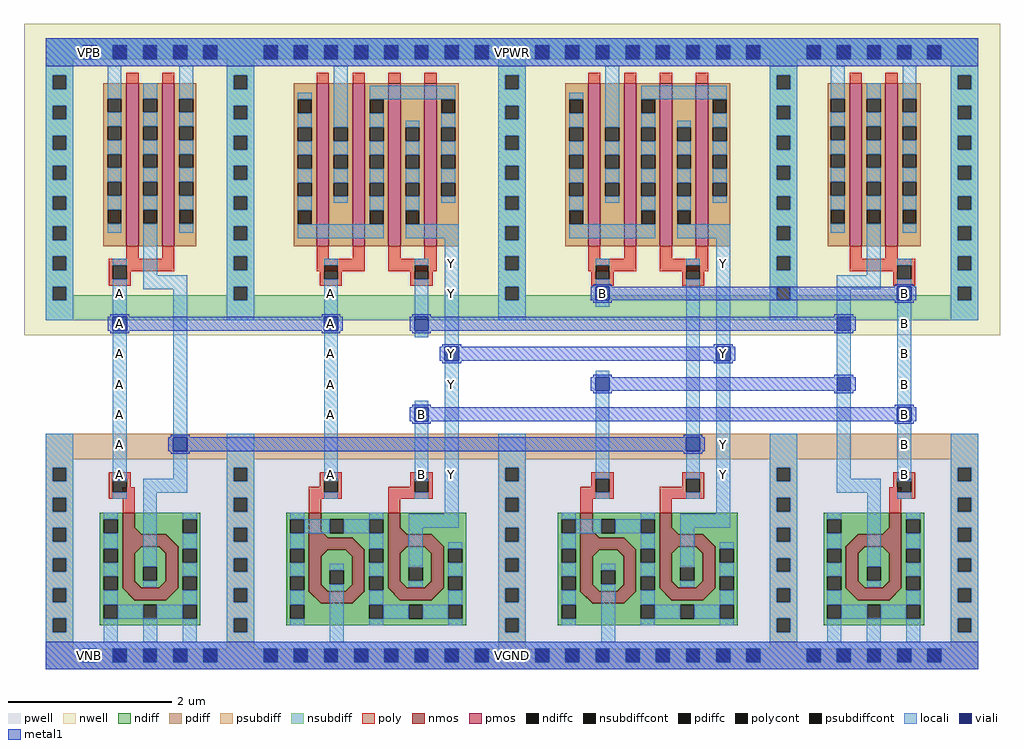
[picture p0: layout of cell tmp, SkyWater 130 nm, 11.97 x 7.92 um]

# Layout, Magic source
magic
tech sky130A
magscale 1 2
<< nwell >>
rect 57 1463 91 1497
<< pwell >>
rect 57 -17 91 17
<< locali >>
rect 945 945 979 979
rect 1611 945 1645 979
rect 131 871 165 905
rect 649 871 683 905
rect 945 871 979 905
rect 1315 871 1349 905
rect 2055 871 2089 905
rect 131 797 165 831
rect 649 797 683 831
rect 2055 797 2089 831
rect 131 723 165 757
rect 649 723 683 757
rect 945 723 979 757
rect 1611 723 1645 757
rect 2055 723 2089 757
rect 131 649 165 683
rect 649 649 683 683
rect 945 649 979 683
rect 2055 649 2089 683
rect 131 575 165 609
rect 649 575 683 609
rect 871 575 905 609
rect 2055 575 2089 609
rect 131 501 165 535
rect 1611 501 1645 535
rect 2055 501 2089 535
rect 131 427 165 461
rect 649 427 683 461
rect 871 427 905 461
rect 945 427 979 461
rect 1611 427 1645 461
rect 2055 427 2089 461
<< metal1 >>
rect -34 1446 2254 1514
rect -34 -34 2254 34
use xor2X1_pcell  xor2X1_pcell_0 pcells
transform 1 0 0 0 1 0
box -87 -34 2307 1550
<< labels >>
rlabel metal1 1611 723 1645 757 1 Y
port 1 n
rlabel metal1 1611 945 1645 979 1 Y
port 2 n
rlabel metal1 1611 501 1645 535 1 Y
port 3 n
rlabel metal1 1611 427 1645 461 1 Y
port 4 n
rlabel metal1 945 723 979 757 1 Y
port 5 n
rlabel metal1 945 649 979 683 1 Y
port 6 n
rlabel metal1 945 871 979 905 1 Y
port 7 n
rlabel metal1 945 945 979 979 1 Y
port 8 n
rlabel metal1 945 427 979 461 1 Y
port 9 n
rlabel metal1 131 797 165 831 1 A
port 10 n
rlabel metal1 131 723 165 757 1 A
port 11 n
rlabel metal1 131 649 165 683 1 A
port 12 n
rlabel metal1 131 575 165 609 1 A
port 13 n
rlabel metal1 131 501 165 535 1 A
port 14 n
rlabel metal1 131 427 165 461 1 A
port 15 n
rlabel metal1 131 871 165 905 1 A
port 16 n
rlabel metal1 649 871 683 905 1 A
port 17 n
rlabel metal1 649 797 683 831 1 A
port 18 n
rlabel metal1 649 723 683 757 1 A
port 19 n
rlabel metal1 649 649 683 683 1 A
port 20 n
rlabel metal1 649 575 683 609 1 A
port 21 n
rlabel metal1 649 427 683 461 1 A
port 22 n
rlabel metal1 2055 871 2089 905 1 B
port 23 n
rlabel metal1 2055 797 2089 831 1 B
port 24 n
rlabel metal1 2055 723 2089 757 1 B
port 25 n
rlabel metal1 2055 649 2089 683 1 B
port 26 n
rlabel metal1 2055 575 2089 609 1 B
port 27 n
rlabel metal1 2055 501 2089 535 1 B
port 28 n
rlabel metal1 2055 427 2089 461 1 B
port 29 n
rlabel metal1 1315 871 1349 905 1 B
port 30 n
rlabel metal1 871 575 905 609 1 B
port 31 n
rlabel metal1 871 427 905 461 1 B
port 32 n
rlabel metal1 -34 1446 2254 1514 1 VPWR
port 33 n
rlabel metal1 -34 -34 2254 34 1 VGND
port 34 n
rlabel nwell 57 1463 91 1497 1 VPB
port 35 n
rlabel pwell 57 -17 91 17 1 VNB
port 36 n
<< properties >>
string LEFsite unithd
string LEFclass CORE
string FIXED_BBOX 0 0 2220 1480
string LEFsymmetry X Y R90
<< end >>

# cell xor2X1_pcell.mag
magic
tech sky130A
magscale 1 2
<< nwell >>
rect 531 1532 1689 1550
rect 528 1514 1026 1532
rect 1194 1514 1692 1532
rect 478 1463 1742 1514
rect 478 1449 1079 1463
rect 1141 1449 1742 1463
rect 478 1446 1076 1449
rect 1144 1446 1742 1449
rect 528 1439 1026 1446
rect 528 968 539 1439
rect 585 1330 619 1364
rect 1015 968 1026 1439
rect 528 825 1026 968
rect 1194 1440 1692 1446
rect 1194 968 1205 1440
rect 1681 968 1692 1440
rect 1194 825 1692 968
rect 531 786 1689 825
<< pwell >>
rect -31 0 1742 544
rect 1761 0 2251 544
rect 478 -28 1742 0
rect 478 -34 1076 -28
rect 1144 -34 1742 -28
<< pdiffc >>
rect 585 1330 619 1364
rect 761 1330 795 1364
rect 937 1330 971 1364
rect 1251 1330 1285 1364
rect 1427 1330 1461 1364
rect 1603 1330 1637 1364
rect 585 1058 619 1092
rect 761 1058 795 1092
rect 849 1058 883 1092
rect 1251 1058 1285 1092
rect 1427 1058 1461 1092
rect 1515 1058 1549 1092
<< psubdiff >>
rect 478 482 1079 544
rect 1141 482 1742 544
rect 478 -17 501 17
rect 535 -17 575 17
rect 609 -17 649 17
rect 683 -17 723 17
rect 757 -17 797 17
rect 831 -17 871 17
rect 905 -17 945 17
rect 979 -17 1019 17
rect 1053 -17 1079 17
rect 1141 -17 1167 17
rect 1201 -17 1241 17
rect 1275 -17 1315 17
rect 1349 -17 1389 17
rect 1423 -17 1463 17
rect 1497 -17 1537 17
rect 1571 -17 1611 17
rect 1645 -17 1685 17
rect 1719 -17 1742 17
rect 478 -34 1076 -17
rect 1144 -34 1742 -17
<< nsubdiff >>
rect 478 1497 1742 1514
rect 478 1463 501 1497
rect 535 1463 575 1497
rect 609 1463 649 1497
rect 683 1463 723 1497
rect 757 1463 797 1497
rect 831 1463 871 1497
rect 905 1463 945 1497
rect 979 1463 1019 1497
rect 1053 1463 1167 1497
rect 1201 1463 1241 1497
rect 1275 1463 1315 1497
rect 1349 1463 1389 1497
rect 1423 1463 1463 1497
rect 1497 1463 1537 1497
rect 1571 1463 1611 1497
rect 1645 1463 1685 1497
rect 1719 1463 1742 1497
rect 478 822 1079 884
rect 1141 822 1742 884
<< psubdiffcont >>
rect 501 -17 535 17
rect 575 -17 609 17
rect 649 -17 683 17
rect 723 -17 757 17
rect 797 -17 831 17
rect 871 -17 905 17
rect 945 -17 979 17
rect 1019 -17 1053 17
rect 1167 -17 1201 17
rect 1241 -17 1275 17
rect 1315 -17 1349 17
rect 1389 -17 1423 17
rect 1463 -17 1497 17
rect 1537 -17 1571 17
rect 1611 -17 1645 17
rect 1685 -17 1719 17
<< nsubdiffcont >>
rect 501 1463 535 1497
rect 575 1463 609 1497
rect 649 1463 683 1497
rect 723 1463 757 1497
rect 797 1463 831 1497
rect 871 1463 905 1497
rect 945 1463 979 1497
rect 1019 1463 1053 1497
rect 1167 1463 1201 1497
rect 1241 1463 1275 1497
rect 1315 1463 1349 1497
rect 1389 1463 1423 1497
rect 1463 1463 1497 1497
rect 1537 1463 1571 1497
rect 1611 1463 1645 1497
rect 1685 1463 1719 1497
<< poly >>
rect 612 384 639 414
rect 806 384 861 414
rect 1278 384 1305 414
rect 1472 384 1527 414
rect 612 376 642 384
rect 806 383 836 384
rect 1278 376 1308 384
rect 1472 383 1502 384
<< locali >>
rect 478 1497 1742 1514
rect 478 1463 501 1497
rect 535 1463 575 1497
rect 609 1463 649 1497
rect 683 1463 723 1497
rect 757 1463 797 1497
rect 831 1463 871 1497
rect 905 1463 945 1497
rect 979 1463 1019 1497
rect 1053 1463 1167 1497
rect 1201 1463 1241 1497
rect 1275 1463 1315 1497
rect 1349 1463 1389 1497
rect 1423 1463 1463 1497
rect 1497 1463 1537 1497
rect 1571 1463 1611 1497
rect 1645 1463 1685 1497
rect 1719 1463 1742 1497
rect 478 1449 1079 1463
rect 1141 1449 1742 1463
rect 478 1446 1076 1449
rect 1144 1446 1742 1449
rect 585 1364 619 1380
rect 585 1312 619 1330
rect 673 1312 707 1446
rect 761 1364 971 1398
rect 761 1312 795 1330
rect 937 1312 971 1330
rect 1251 1364 1285 1380
rect 1251 1312 1285 1330
rect 1339 1312 1373 1446
rect 1427 1364 1637 1398
rect 1427 1312 1461 1330
rect 1603 1312 1637 1330
rect 585 1092 619 1110
rect 761 1092 795 1110
rect 585 1024 795 1058
rect 849 1092 883 1110
rect 1251 1092 1285 1110
rect 1427 1092 1461 1110
rect 849 1024 979 1058
rect 1251 1024 1461 1058
rect 1515 1092 1549 1110
rect 1515 1024 1645 1058
rect 649 448 683 907
rect 871 825 905 907
rect 871 450 905 617
rect 945 348 979 1024
rect 1315 862 1349 907
rect 1315 445 1349 634
rect 1537 449 1571 907
rect 1611 348 1645 1024
rect 857 314 979 348
rect 1523 314 1645 348
rect 857 217 891 314
rect 1523 217 1557 314
rect 663 34 697 175
rect 1329 34 1363 175
rect 478 17 1079 34
rect 478 -17 501 17
rect 535 -17 575 17
rect 609 -17 649 17
rect 683 -17 723 17
rect 757 -17 797 17
rect 831 -17 871 17
rect 905 -17 945 17
rect 979 -17 1019 17
rect 1053 -17 1079 17
rect 478 -28 1079 -17
rect 1141 17 1742 34
rect 1141 -17 1167 17
rect 1201 -17 1241 17
rect 1275 -17 1315 17
rect 1349 -17 1389 17
rect 1423 -17 1463 17
rect 1497 -17 1537 17
rect 1571 -17 1611 17
rect 1645 -17 1685 17
rect 1719 -17 1742 17
rect 1141 -28 1742 -17
rect 478 -34 1076 -28
rect 1144 -34 1742 -28
<< viali >>
rect 501 1463 535 1497
rect 575 1463 609 1497
rect 649 1463 683 1497
rect 723 1463 757 1497
rect 797 1463 831 1497
rect 871 1463 905 1497
rect 945 1463 979 1497
rect 1019 1463 1053 1497
rect 1167 1463 1201 1497
rect 1241 1463 1275 1497
rect 1315 1463 1349 1497
rect 1389 1463 1423 1497
rect 1463 1463 1497 1497
rect 1537 1463 1571 1497
rect 1611 1463 1645 1497
rect 1685 1463 1719 1497
rect 501 -17 535 17
rect 575 -17 609 17
rect 649 -17 683 17
rect 723 -17 757 17
rect 797 -17 831 17
rect 871 -17 905 17
rect 945 -17 979 17
rect 1019 -17 1053 17
rect 1167 -17 1201 17
rect 1241 -17 1275 17
rect 1315 -17 1349 17
rect 1389 -17 1423 17
rect 1463 -17 1497 17
rect 1537 -17 1571 17
rect 1611 -17 1645 17
rect 1685 -17 1719 17
<< metal1 >>
rect 478 1497 1742 1514
rect 478 1463 501 1497
rect 535 1463 575 1497
rect 609 1463 649 1497
rect 683 1463 723 1497
rect 757 1463 797 1497
rect 831 1463 871 1497
rect 905 1463 945 1497
rect 979 1463 1019 1497
rect 1053 1463 1167 1497
rect 1201 1463 1241 1497
rect 1275 1463 1315 1497
rect 1349 1463 1389 1497
rect 1423 1463 1463 1497
rect 1497 1463 1537 1497
rect 1571 1463 1611 1497
rect 1645 1463 1685 1497
rect 1719 1463 1742 1497
rect 478 1449 1079 1463
rect 1141 1449 1742 1463
rect 478 1446 1076 1449
rect 1144 1446 1742 1449
rect 1378 871 2050 905
rect 187 797 623 831
rect 939 797 1947 831
rect 981 723 1586 757
rect 1372 649 1947 683
rect 905 575 2046 609
rect 315 501 1512 535
rect 478 17 1079 34
rect 478 -17 501 17
rect 535 -17 575 17
rect 609 -17 649 17
rect 683 -17 723 17
rect 757 -17 797 17
rect 831 -17 871 17
rect 905 -17 945 17
rect 979 -17 1019 17
rect 1053 -17 1079 17
rect 478 -28 1079 -17
rect 1141 17 1742 34
rect 1141 -17 1167 17
rect 1201 -17 1241 17
rect 1275 -17 1315 17
rect 1349 -17 1389 17
rect 1423 -17 1463 17
rect 1497 -17 1537 17
rect 1571 -17 1611 17
rect 1645 -17 1685 17
rect 1719 -17 1742 17
rect 1141 -28 1742 -17
rect 478 -34 1076 -28
rect 1144 -34 1742 -28
use li1_M1_contact  li1_M1_contact_1
transform -1 0 148 0 -1 814
box -53 -33 29 33
use invx1_pcell  invx1_pcell_0
transform 1 0 0 0 1 0
box -87 -34 531 1550
use li1_M1_contact  li1_M1_contact_4
transform -1 0 296 0 -1 518
box -53 -33 29 33
use diff_ring_side  diff_ring_side_1
transform 1 0 444 0 1 0
box -87 -34 87 1550
use li1_M1_contact  li1_M1_contact_0
transform 1 0 666 0 1 814
box -53 -33 29 33
use pmos2_1  pmos2_1_1
transform 1 0 663 0 1 1403
box 52 -460 352 37
use pmos2_1  pmos2_1_0
transform 1 0 487 0 1 1403
box 52 -460 352 37
use poly_li1_contact  poly_li1_contact_0
transform 0 1 667 -1 0 941
box -32 -28 34 26
use nmos_bottom  nmos_bottom_0
transform -1 0 804 0 1 74
box 0 0 248 302
use nmos_top_trim1  nmos_top_trim1_0
transform -1 0 998 0 1 74
box 0 0 248 309
use poly_li1_contact  poly_li1_contact_1
transform 0 1 667 -1 0 418
box -32 -28 34 26
use poly_li1_contact  poly_li1_contact_3
transform 0 1 889 -1 0 941
box -32 -28 34 26
use li1_M1_contact  li1_M1_contact_9
transform -1 0 888 0 -1 592
box -53 -33 29 33
use li1_M1_contact  li1_M1_contact_7
transform -1 0 962 0 -1 740
box -53 -33 29 33
use li1_M1_contact  li1_M1_contact_3
transform -1 0 888 0 -1 814
box -53 -33 29 33
use diff_ring_side  diff_ring_side_0
transform 1 0 1110 0 1 0
box -87 -34 87 1550
use poly_li1_contact  poly_li1_contact_2
transform 0 1 889 -1 0 418
box -32 -28 34 26
use li1_M1_contact  li1_M1_contact_6
transform -1 0 1332 0 -1 888
box -53 -33 29 33
use pmos2_1  pmos2_1_2
transform 1 0 1153 0 1 1403
box 52 -460 352 37
use pmos2_1  pmos2_1_3
transform 1 0 1329 0 1 1403
box 52 -460 352 37
use poly_li1_contact  poly_li1_contact_5
transform 0 1 1333 -1 0 941
box -32 -28 34 26
use li1_M1_contact  li1_M1_contact_11
transform -1 0 1332 0 -1 666
box -53 -33 29 33
use nmos_bottom  nmos_bottom_1
transform -1 0 1470 0 1 74
box 0 0 248 302
use nmos_top_trim1  nmos_top_trim1_1
transform -1 0 1664 0 1 74
box 0 0 248 309
use poly_li1_contact  poly_li1_contact_4
transform 0 1 1333 -1 0 418
box -32 -28 34 26
use li1_M1_contact  li1_M1_contact_5
transform 1 0 1554 0 1 518
box -53 -33 29 33
use poly_li1_contact  poly_li1_contact_7
transform 0 1 1555 -1 0 941
box -32 -28 34 26
use li1_M1_contact  li1_M1_contact_8
transform 1 0 1628 0 1 740
box -53 -33 29 33
use diff_ring_side  diff_ring_side_3
transform 1 0 1776 0 1 0
box -87 -34 87 1550
use poly_li1_contact  poly_li1_contact_6
transform 0 1 1555 -1 0 418
box -32 -28 34 26
use invx1_pcell  invx1_pcell_1
transform -1 0 2220 0 1 0
box -87 -34 531 1550
use li1_M1_contact  li1_M1_contact_12
transform 1 0 2072 0 1 888
box -53 -33 29 33
use li1_M1_contact  li1_M1_contact_10
transform 1 0 1924 0 1 814
box -53 -33 29 33
use li1_M1_contact  li1_M1_contact_2
transform 1 0 2072 0 1 592
box -53 -33 29 33
use li1_M1_contact  li1_M1_contact_13
transform 1 0 1924 0 1 666
box -53 -33 29 33
<< end >>

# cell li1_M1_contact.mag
magic
tech sky130A
magscale 1 2
<< locali >>
rect -17 17 17 33
rect -17 -33 17 -17
<< viali >>
rect -17 -17 17 17
<< metal1 >>
rect -23 17 23 23
rect -53 -17 -17 17
rect 17 -17 29 17
rect -23 -23 23 -17
<< end >>

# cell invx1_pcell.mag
magic
tech sky130A
magscale 1 2
<< nwell >>
rect -87 786 531 1550
<< pwell >>
rect -34 -34 478 544
<< pdiffc >>
rect 118 1059 152 1093
rect 206 1059 240 1093
rect 294 1059 328 1093
<< psubdiff >>
rect 34 482 410 544
rect 34 -17 57 17
rect 91 -17 131 17
rect 165 -17 205 17
rect 239 -17 279 17
rect 313 -17 353 17
rect 387 -17 410 17
rect 34 -34 410 -17
<< nsubdiff >>
rect 34 1497 410 1514
rect 34 1463 57 1497
rect 91 1463 131 1497
rect 165 1463 205 1497
rect 239 1463 279 1497
rect 313 1463 353 1497
rect 387 1463 410 1497
rect 34 822 410 884
<< psubdiffcont >>
rect 57 -17 91 17
rect 131 -17 165 17
rect 205 -17 239 17
rect 279 -17 313 17
rect 353 -17 387 17
<< nsubdiffcont >>
rect 57 1463 91 1497
rect 131 1463 165 1497
rect 205 1463 239 1497
rect 279 1463 313 1497
rect 353 1463 387 1497
<< poly >>
rect 155 381 185 413
<< locali >>
rect 34 1497 410 1514
rect 34 1463 57 1497
rect 91 1463 131 1497
rect 165 1463 205 1497
rect 239 1463 279 1497
rect 313 1463 353 1497
rect 387 1463 410 1497
rect 34 1446 410 1463
rect 118 1093 152 1111
rect 118 1037 152 1059
rect 206 1093 240 1111
rect 206 933 240 1059
rect 294 1093 328 1111
rect 294 1037 328 1059
rect 131 449 165 908
rect 206 899 313 933
rect 279 433 313 899
rect 205 399 313 433
rect 205 233 239 399
rect 109 34 143 90
rect 206 34 240 91
rect 303 34 337 90
rect 34 17 410 34
rect 34 -17 57 17
rect 91 -17 131 17
rect 165 -17 205 17
rect 239 -17 279 17
rect 313 -17 353 17
rect 387 -17 410 17
rect 34 -34 410 -17
<< viali >>
rect 57 1463 91 1497
rect 131 1463 165 1497
rect 205 1463 239 1497
rect 279 1463 313 1497
rect 353 1463 387 1497
rect 57 -17 91 17
rect 131 -17 165 17
rect 205 -17 239 17
rect 279 -17 313 17
rect 353 -17 387 17
<< metal1 >>
rect 34 1497 410 1514
rect 34 1463 57 1497
rect 91 1463 131 1497
rect 165 1463 205 1497
rect 239 1463 279 1497
rect 313 1463 353 1497
rect 387 1463 410 1497
rect 34 1446 410 1463
rect 34 17 410 34
rect 34 -17 57 17
rect 91 -17 131 17
rect 165 -17 205 17
rect 239 -17 279 17
rect 313 -17 353 17
rect 387 -17 410 17
rect 34 -34 410 -17
use diff_ring_side  diff_ring_side_0
transform 1 0 444 0 1 0
box -87 -34 87 1550
use diff_ring_side  diff_ring_side_1
transform 1 0 0 0 1 0
box -87 -34 87 1550
use nmos_top  nmos_top_0
transform -1 0 345 0 1 74
box 0 0 246 308
use pmos2  pmos2_0
transform 1 0 20 0 1 1404
box 52 -461 352 42
use poly_li1_contact  poly_li1_contact_0
transform 0 1 149 -1 0 941
box -32 -28 34 26
use poly_li1_contact  poly_li1_contact_1
transform 0 -1 147 1 0 416
box -32 -28 34 26
<< end >>

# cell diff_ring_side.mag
magic
tech sky130A
magscale 1 2
<< nwell >>
rect -87 786 87 1550
<< pwell >>
rect -34 -34 34 544
<< psubdiff >>
rect -34 461 34 544
rect -34 427 -17 461
rect 17 427 34 461
rect -34 387 34 427
rect -34 353 -17 387
rect 17 353 34 387
rect -34 313 34 353
rect -34 279 -17 313
rect 17 279 34 313
rect -34 239 34 279
rect -34 205 -17 239
rect 17 205 34 239
rect -34 165 34 205
rect -34 131 -17 165
rect 17 131 34 165
rect -34 91 34 131
rect -34 57 -17 91
rect 17 57 34 91
rect -34 -34 34 57
<< nsubdiff >>
rect -34 1423 34 1514
rect -34 1389 -17 1423
rect 17 1389 34 1423
rect -34 1349 34 1389
rect -34 1315 -17 1349
rect 17 1315 34 1349
rect -34 1275 34 1315
rect -34 1241 -17 1275
rect 17 1241 34 1275
rect -34 1201 34 1241
rect -34 1167 -17 1201
rect 17 1167 34 1201
rect -34 1127 34 1167
rect -34 1093 -17 1127
rect 17 1093 34 1127
rect -34 1053 34 1093
rect -34 1019 -17 1053
rect 17 1019 34 1053
rect -34 979 34 1019
rect -34 945 -17 979
rect 17 945 34 979
rect -34 905 34 945
rect -34 871 -17 905
rect 17 871 34 905
rect -34 822 34 871
<< psubdiffcont >>
rect -17 427 17 461
rect -17 353 17 387
rect -17 279 17 313
rect -17 205 17 239
rect -17 131 17 165
rect -17 57 17 91
<< nsubdiffcont >>
rect -17 1389 17 1423
rect -17 1315 17 1349
rect -17 1241 17 1275
rect -17 1167 17 1201
rect -17 1093 17 1127
rect -17 1019 17 1053
rect -17 945 17 979
rect -17 871 17 905
<< locali >>
rect -34 1423 34 1514
rect -34 1389 -17 1423
rect 17 1389 34 1423
rect -34 1349 34 1389
rect -34 1315 -17 1349
rect 17 1315 34 1349
rect -34 1275 34 1315
rect -34 1241 -17 1275
rect 17 1241 34 1275
rect -34 1201 34 1241
rect -34 1167 -17 1201
rect 17 1167 34 1201
rect -34 1127 34 1167
rect -34 1093 -17 1127
rect 17 1093 34 1127
rect -34 1053 34 1093
rect -34 1019 -17 1053
rect 17 1019 34 1053
rect -34 979 34 1019
rect -34 945 -17 979
rect 17 945 34 979
rect -34 905 34 945
rect -34 871 -17 905
rect 17 871 34 905
rect -34 822 34 871
rect -34 461 34 544
rect -34 427 -17 461
rect 17 427 34 461
rect -34 387 34 427
rect -34 353 -17 387
rect 17 353 34 387
rect -34 313 34 353
rect -34 279 -17 313
rect 17 279 34 313
rect -34 239 34 279
rect -34 205 -17 239
rect 17 205 34 239
rect -34 165 34 205
rect -34 131 -17 165
rect 17 131 34 165
rect -34 91 34 131
rect -34 57 -17 91
rect 17 57 34 91
rect -34 -34 34 57
<< metal1 >>
rect -34 1446 34 1514
rect -34 -34 34 34
<< end >>

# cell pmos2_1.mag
magic
tech sky130A
magscale 1 2
<< nwell >>
rect 52 -435 352 37
<< pmos >>
rect 144 -399 174 1
rect 232 -399 262 1
<< pdiff >>
rect 88 -107 144 1
rect 88 -141 98 -107
rect 132 -141 144 -107
rect 88 -175 144 -141
rect 88 -209 98 -175
rect 132 -209 144 -175
rect 88 -243 144 -209
rect 88 -277 98 -243
rect 132 -277 144 -243
rect 88 -399 144 -277
rect 174 -107 232 1
rect 174 -141 186 -107
rect 220 -141 232 -107
rect 174 -175 232 -141
rect 174 -209 186 -175
rect 220 -209 232 -175
rect 174 -243 232 -209
rect 174 -277 186 -243
rect 220 -277 232 -243
rect 174 -399 232 -277
rect 262 -107 316 1
rect 262 -141 274 -107
rect 308 -141 316 -107
rect 262 -175 316 -141
rect 262 -209 274 -175
rect 308 -209 316 -175
rect 262 -243 316 -209
rect 262 -277 274 -243
rect 308 -277 316 -243
rect 262 -399 316 -277
<< pdiffc >>
rect 98 -141 132 -107
rect 98 -209 132 -175
rect 98 -277 132 -243
rect 186 -141 220 -107
rect 186 -209 220 -175
rect 186 -277 220 -243
rect 274 -141 308 -107
rect 274 -209 308 -175
rect 274 -277 308 -243
<< poly >>
rect 144 1 174 27
rect 232 1 262 27
rect 144 -430 174 -399
rect 232 -430 262 -399
rect 144 -460 262 -430
<< locali >>
rect 98 -107 132 -91
rect 98 -175 132 -141
rect 98 -243 132 -209
rect 98 -293 132 -277
rect 186 -107 220 -91
rect 186 -175 220 -141
rect 186 -243 220 -209
rect 186 -293 220 -277
rect 274 -107 308 -91
rect 274 -175 308 -141
rect 274 -243 308 -209
rect 274 -293 308 -277
<< end >>

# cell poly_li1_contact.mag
magic
tech sky130A
<< poly >>
rect -16 8 17 13
rect -16 -9 -8 8
rect 9 -9 17 8
rect -16 -14 17 -9
<< polycont >>
rect -8 -9 9 8
<< locali >>
rect -16 -9 -8 8
rect 9 -9 17 8
<< end >>

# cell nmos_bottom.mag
magic
tech sky130A
magscale 1 2
<< nmos >>
tri 146 215 162 231 se
rect 162 215 192 276
tri 56 185 86 215 se
rect 86 185 192 215
rect 56 84 86 185
tri 86 169 102 185 nw
tri 146 169 162 185 ne
tri 86 84 102 100 sw
tri 146 84 162 100 se
rect 162 84 192 185
tri 56 54 86 84 ne
rect 86 54 162 84
tri 162 54 192 84 nw
<< ndiff >>
rect 0 260 162 276
rect 0 226 10 260
rect 44 226 107 260
rect 141 231 162 260
rect 141 226 146 231
rect 0 215 146 226
tri 146 215 162 231 nw
rect 192 260 248 276
rect 192 226 204 260
rect 238 226 248 260
rect 0 188 56 215
rect 0 154 10 188
rect 44 154 56 188
tri 56 185 86 215 nw
rect 192 188 248 226
rect 0 120 56 154
rect 0 86 10 120
rect 44 86 56 120
rect 0 54 56 86
tri 86 169 102 185 se
rect 102 169 146 185
tri 146 169 162 185 sw
rect 86 135 162 169
rect 86 101 107 135
rect 141 101 162 135
rect 86 100 162 101
tri 86 84 102 100 ne
rect 102 84 146 100
tri 146 84 162 100 nw
rect 192 154 204 188
rect 238 154 248 188
rect 192 120 248 154
rect 192 86 204 120
rect 238 86 248 120
tri 56 54 86 84 sw
tri 162 54 192 84 se
rect 192 54 248 86
rect 0 50 248 54
rect 0 16 10 50
rect 44 16 204 50
rect 238 16 248 50
rect 0 0 248 16
<< ndiffc >>
rect 10 226 44 260
rect 107 226 141 260
rect 204 226 238 260
rect 10 154 44 188
rect 10 86 44 120
rect 107 101 141 135
rect 204 154 238 188
rect 204 86 238 120
rect 10 16 44 50
rect 204 16 238 50
<< poly >>
rect 162 276 192 302
<< locali >>
rect 10 260 44 276
rect 204 260 238 276
rect 44 226 107 260
rect 141 226 204 260
rect 10 188 44 226
rect 10 120 44 154
rect 204 188 238 226
rect 10 50 44 86
rect 107 135 141 151
rect 107 85 141 101
rect 204 120 238 154
rect 10 0 44 16
rect 204 50 238 86
rect 204 0 238 16
<< end >>

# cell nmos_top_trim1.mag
magic
tech sky130A
magscale 1 2
<< nmos >>
tri 146 223 162 239 se
rect 162 223 192 276
tri 56 193 86 223 se
rect 86 193 192 223
rect 56 92 86 193
tri 86 177 102 193 nw
tri 146 177 162 193 ne
tri 86 92 102 108 sw
tri 146 92 162 108 se
rect 162 92 192 193
tri 56 62 86 92 ne
rect 86 62 162 92
tri 162 62 192 92 nw
<< ndiff >>
rect 0 239 162 276
rect 0 223 146 239
tri 146 223 162 239 nw
rect 192 260 248 276
rect 192 226 204 260
rect 238 226 248 260
rect 0 188 56 223
tri 56 193 86 223 nw
rect 0 154 10 188
rect 44 154 56 188
rect 0 120 56 154
rect 0 86 10 120
rect 44 86 56 120
tri 86 177 102 193 se
rect 102 177 146 193
tri 146 177 162 193 sw
rect 86 144 162 177
rect 86 110 107 144
rect 141 110 162 144
rect 86 108 162 110
tri 86 92 102 108 ne
rect 102 92 146 108
tri 146 92 162 108 nw
rect 192 188 248 226
rect 192 154 204 188
rect 238 154 248 188
rect 192 120 248 154
rect 0 62 56 86
tri 56 62 86 92 sw
tri 162 62 192 92 se
rect 192 86 204 120
rect 238 86 248 120
rect 192 62 248 86
rect 0 50 248 62
rect 0 16 10 50
rect 44 16 107 50
rect 141 16 204 50
rect 238 16 248 50
rect 0 0 248 16
<< ndiffc >>
rect 204 226 238 260
rect 10 154 44 188
rect 10 86 44 120
rect 107 110 141 144
rect 204 154 238 188
rect 204 86 238 120
rect 10 16 44 50
rect 107 16 141 50
rect 204 16 238 50
<< poly >>
rect 162 276 192 309
<< locali >>
rect 204 260 238 276
rect 10 188 44 204
rect 204 188 238 226
rect 10 120 44 154
rect 107 144 141 161
rect 107 94 141 110
rect 204 120 238 154
rect 10 50 44 86
rect 204 50 238 86
rect 44 16 107 50
rect 141 16 204 50
rect 10 0 44 16
rect 204 0 238 16
<< end >>

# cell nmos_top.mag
magic
tech sky130A
magscale 1 2
<< nmos >>
tri 144 223 160 239 se
rect 160 223 190 276
tri 54 193 84 223 se
rect 84 193 190 223
rect 54 92 84 193
tri 84 177 100 193 nw
tri 144 177 160 193 ne
tri 84 92 100 108 sw
tri 144 92 160 108 se
rect 160 92 190 193
tri 54 62 84 92 ne
rect 84 62 160 92
tri 160 62 190 92 nw
<< ndiff >>
rect 0 260 160 276
rect 0 226 8 260
rect 42 239 160 260
rect 42 226 144 239
rect 0 223 144 226
tri 144 223 160 239 nw
rect 190 260 246 276
rect 190 226 202 260
rect 236 226 246 260
rect 0 188 54 223
tri 54 193 84 223 nw
rect 0 154 8 188
rect 42 154 54 188
rect 0 120 54 154
rect 0 86 8 120
rect 42 86 54 120
tri 84 177 100 193 se
rect 100 177 144 193
tri 144 177 160 193 sw
rect 84 144 160 177
rect 84 110 106 144
rect 140 110 160 144
rect 84 108 160 110
tri 84 92 100 108 ne
rect 100 92 144 108
tri 144 92 160 108 nw
rect 190 188 246 226
rect 190 154 202 188
rect 236 154 246 188
rect 190 120 246 154
rect 0 62 54 86
tri 54 62 84 92 sw
tri 160 62 190 92 se
rect 190 86 202 120
rect 236 86 246 120
rect 190 62 246 86
rect 0 50 246 62
rect 0 16 8 50
rect 42 16 106 50
rect 140 16 202 50
rect 236 16 246 50
rect 0 0 246 16
<< ndiffc >>
rect 8 226 42 260
rect 202 226 236 260
rect 8 154 42 188
rect 8 86 42 120
rect 106 110 140 144
rect 202 154 236 188
rect 202 86 236 120
rect 8 16 42 50
rect 106 16 140 50
rect 202 16 236 50
<< poly >>
rect 160 276 190 308
<< locali >>
rect 8 260 42 276
rect 8 188 42 226
rect 202 260 236 276
rect 202 188 236 226
rect 8 120 42 154
rect 106 144 140 161
rect 106 94 140 110
rect 202 120 236 154
rect 8 50 42 86
rect 202 50 236 86
rect 42 16 106 50
rect 140 16 202 50
rect 8 0 42 16
rect 202 0 236 16
<< end >>

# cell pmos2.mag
magic
tech sky130A
magscale 1 2
<< nwell >>
rect 52 -436 352 36
<< pmos >>
rect 144 -400 174 0
rect 232 -400 262 0
<< pdiff >>
rect 88 -38 144 0
rect 88 -72 98 -38
rect 132 -72 144 -38
rect 88 -106 144 -72
rect 88 -140 98 -106
rect 132 -140 144 -106
rect 88 -174 144 -140
rect 88 -208 98 -174
rect 132 -208 144 -174
rect 88 -242 144 -208
rect 88 -276 98 -242
rect 132 -276 144 -242
rect 88 -400 144 -276
rect 174 -38 232 0
rect 174 -72 186 -38
rect 220 -72 232 -38
rect 174 -106 232 -72
rect 174 -140 186 -106
rect 220 -140 232 -106
rect 174 -174 232 -140
rect 174 -208 186 -174
rect 220 -208 232 -174
rect 174 -242 232 -208
rect 174 -276 186 -242
rect 220 -276 232 -242
rect 174 -400 232 -276
rect 262 -38 316 0
rect 262 -72 274 -38
rect 308 -72 316 -38
rect 262 -106 316 -72
rect 262 -140 274 -106
rect 308 -140 316 -106
rect 262 -174 316 -140
rect 262 -208 274 -174
rect 308 -208 316 -174
rect 262 -242 316 -208
rect 262 -276 274 -242
rect 308 -276 316 -242
rect 262 -400 316 -276
<< pdiffc >>
rect 98 -72 132 -38
rect 98 -140 132 -106
rect 98 -208 132 -174
rect 98 -276 132 -242
rect 186 -72 220 -38
rect 186 -140 220 -106
rect 186 -208 220 -174
rect 186 -276 220 -242
rect 274 -72 308 -38
rect 274 -140 308 -106
rect 274 -208 308 -174
rect 274 -276 308 -242
<< poly >>
rect 144 0 174 26
rect 232 0 262 26
rect 144 -431 174 -400
rect 232 -431 262 -400
rect 144 -461 262 -431
<< locali >>
rect 98 -38 132 42
rect 98 -106 132 -72
rect 98 -174 132 -140
rect 98 -242 132 -208
rect 98 -293 132 -276
rect 186 -38 220 0
rect 186 -106 220 -72
rect 186 -174 220 -140
rect 186 -242 220 -208
rect 186 -293 220 -276
rect 274 -38 308 42
rect 274 -106 308 -72
rect 274 -174 308 -140
rect 274 -242 308 -208
rect 274 -293 308 -276
<< end >>
